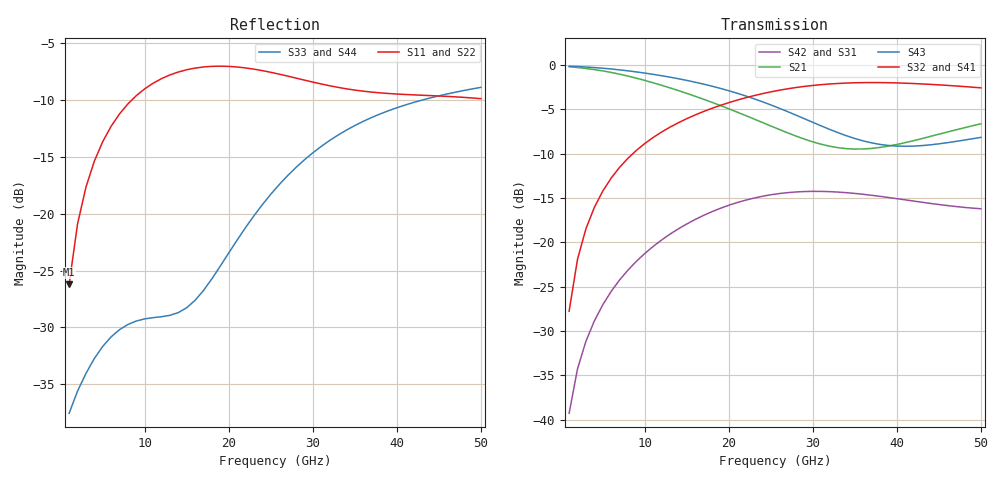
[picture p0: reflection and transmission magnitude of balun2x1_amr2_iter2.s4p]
#  GHZ S DB R 50.0
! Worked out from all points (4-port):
!   50 points, 1 GHz to 50 GHz, reference 50 ohm
!   strongest paths, dB at 1 GHz, 13 GHz, 26 GHz, 38 GHz, 50 GHz:
!     S32: -27.8, -7.0, -2.8, -2.0, -2.6
!     S41: -27.8, -7.0, -2.9, -2.0, -2.6
!     S43: -0.1, -1.4, -4.9, -8.9, -8.2
!     S21: -0.2, -2.6, -7.3, -9.3, -6.6
!     S42: -39.3, -19.1, -14.5, -14.8, -16.2
!     S31: -39.3, -19.1, -14.7, -15.0, -16.3
!   lowest |S11| = -26.2 dB at 1 GHz (marker M1), VSWR 1.10, Z = 52 + j4.59 ohm
!   |S11| at or under -10 dB: start of sweep to 8.442 GHz
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1  -26.21 64.4  -0.19 -5.3  -39.29 -110.4  -27.76 84.4
   -0.19 -5.3  -26.21 64.3  -27.76 84.4  -39.28 -110.5
   -39.29 -110.4  -27.76 84.4  -37.57 22.2  -0.12 -2.6
   -27.76 84.4  -39.28 -110.5  -0.12 -2.6  -37.57 22.2
4  -15.37 62.2  -0.50 -19.9  -28.88 -135.8  -16.05 73.5
   -0.50 -19.9  -15.38 61.9  -16.06 73.5  -28.86 -136.2
   -28.88 -135.8  -16.06 73.5  -32.75 26.4  -0.27 -9.9
   -16.05 73.5  -28.86 -136.2  -0.27 -9.9  -32.76 26.1
9  -9.59 40.6  -1.47 -43.1  -22.18 -178.2  -9.62 55.7
   -1.47 -43.1  -9.61 40.1  -9.62 55.7  -22.14 -178.9
   -22.18 -178.2  -9.62 55.7  -29.44 -3.1  -0.77 -21.3
   -9.62 55.7  -22.14 -178.9  -0.77 -21.3  -29.42 -3.7
17  -7.07 9.2  -3.85 -79.1  -17.05 122.8  -5.24 30.9
    -3.85 -79.1  -7.11 8.2  -5.23 30.8  -16.95 121.6
    -17.05 122.8  -5.23 30.8  -26.74 -102.6  -2.14 -37.7
    -5.24 30.9  -16.95 121.6  -2.14 -37.7  -26.53 -103.5
28  -8.05 -18.7  -8.01 -141.0  -14.49 58.6  -2.55 -1.4
    -8.01 -141.0  -8.22 -20.4  -2.53 -1.5  -14.31 56.8
    -14.49 58.6  -2.53 -1.5  -15.92 164.4  -5.64 -52.9
    -2.55 -1.4  -14.31 56.8  -5.64 -52.9  -15.72 164.2
37  -9.29 -27.3  -9.40 151.8  -14.90 21.3  -2.00 -26.3
    -9.40 151.8  -9.62 -28.6  -1.97 -26.6  -14.69 18.5
    -14.90 21.3  -1.97 -26.6  -11.52 124.4  -8.77 -45.8
    -2.00 -26.3  -14.69 18.5  -8.77 -45.8  -11.34 124.0
50  -9.87 -41.1  -6.62 84.3  -16.32 -6.6  -2.60 -55.6
    -6.62 84.3  -10.23 -41.7  -2.56 -56.1  -16.21 -10.9
    -16.32 -6.6  -2.56 -56.1  -8.87 88.5  -8.15 -29.8
    -2.60 -55.6  -16.21 -10.9  -8.15 -29.8  -8.70 87.8
